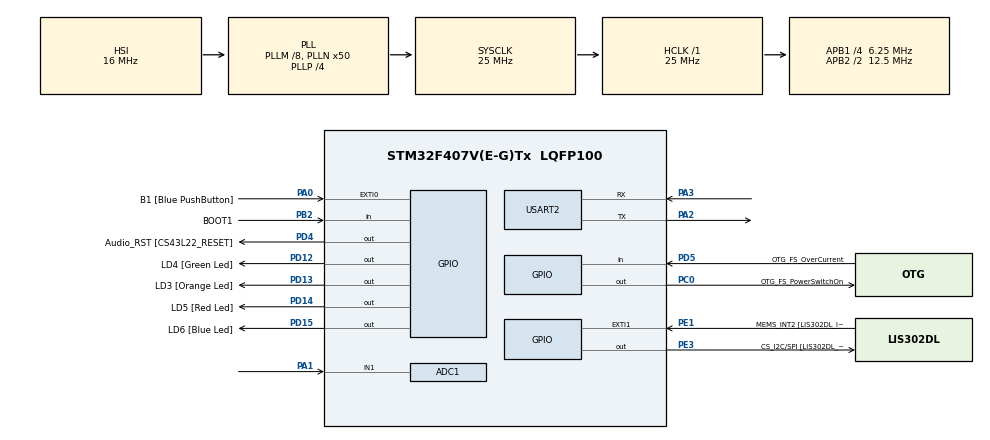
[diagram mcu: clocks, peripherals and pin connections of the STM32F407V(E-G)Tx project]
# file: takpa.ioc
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ADC1.Channel-0\#ChannelRegularConversion=ADC_CHANNEL_1
ADC1.Channel-1\#ChannelRegularConversion=ADC_CHANNEL_TEMPSENSOR
ADC1.ClockPrescaler=ADC_CLOCK_SYNC_PCLK_DIV2
ADC1.ContinuousConvMode=ENABLE
ADC1.DMAContinuousRequests=ENABLE
ADC1.DataAlign=ADC_DATAALIGN_RIGHT
ADC1.DiscontinuousConvMode=DISABLE
ADC1.EOCSelection=ADC_EOC_SINGLE_CONV
ADC1.EnableAnalogWatchDog=false
ADC1.ExternalTrigConv=ADC_SOFTWARE_START
ADC1.ExternalTrigConvEdge=ADC_EXTERNALTRIGCONVEDGE_NONE
ADC1.InjNumberOfConversion=0
ADC1.NbrOfConversion=2
ADC1.NbrOfConversionFlag=1
ADC1.Rank-0\#ChannelRegularConversion=1
ADC1.Rank-1\#ChannelRegularConversion=2
ADC1.Resolution=ADC_RESOLUTION_12B
ADC1.SamplingTime-0\#ChannelRegularConversion=ADC_SAMPLETIME_480CYCLES
ADC1.SamplingTime-1\#ChannelRegularConversion=ADC_SAMPLETIME_480CYCLES
ADC1.ScanConvMode=ENABLE
ADC1.master=1
Dma.ADC1.0.Direction=DMA_PERIPH_TO_MEMORY
Dma.ADC1.0.FIFOMode=DMA_FIFOMODE_DISABLE
Dma.ADC1.0.Instance=DMA2_Stream0
Dma.ADC1.0.MemDataAlignment=DMA_MDATAALIGN_WORD
Dma.ADC1.0.MemInc=DMA_MINC_ENABLE
Dma.ADC1.0.Mode=DMA_CIRCULAR
Dma.ADC1.0.PeriphDataAlignment=DMA_PDATAALIGN_WORD
Dma.ADC1.0.PeriphInc=DMA_PINC_DISABLE
Dma.ADC1.0.Priority=DMA_PRIORITY_LOW
Dma.Request0=ADC1
Mcu.Family=STM32F4
Mcu.Name=STM32F407V(E-G)Tx
Mcu.Package=LQFP100
NVIC.DMA2_Stream0_IRQn=true\:0\:0\:false\:false\:true\:false
NVIC.PriorityGroup=NVIC_PRIORITYGROUP_0
NVIC.TIM1_TRG_COM_TIM11_IRQn=true\:0\:0\:false\:false\:true\:true
NVIC.TIM1_UP_TIM10_IRQn=true\:0\:0\:true\:false\:true\:true
NVIC.USART2_IRQn=true\:0\:0\:false\:false\:true\:true
PA0-WKUP.GPIO_Label=B1 [Blue PushButton]
PA0-WKUP.Signal=GPXTI0
PA1.Signal=ADCx_IN1
PA10.GPIO_Label=OTG_FS_ID
PA10.GPIO_Mode=GPIO_MODE_AF_PP
PA10.GPIO_PuPd=GPIO_NOPULL
PA10.GPIO_Speed=GPIO_SPEED_FREQ_LOW
PA10.Signal=USB_OTG_FS_ID
PA11.GPIO_Label=OTG_FS_DM
PA11.GPIO_Mode=GPIO_MODE_AF_PP
PA11.GPIO_PuPd=GPIO_NOPULL
PA11.GPIO_Speed=GPIO_SPEED_FREQ_LOW
PA11.Signal=USB_OTG_FS_DM
PA12.GPIO_Label=OTG_FS_DP
PA12.GPIO_Mode=GPIO_MODE_AF_PP
PA12.GPIO_PuPd=GPIO_NOPULL
PA12.GPIO_Speed=GPIO_SPEED_FREQ_LOW
PA12.Signal=USB_OTG_FS_DP
PA13.GPIO_Label=SWDIO
PA13.Signal=SYS_JTMS-SWDIO
PA14.GPIO_Label=SWCLK
PA14.Signal=SYS_JTCK-SWCLK
PA2.Mode=Asynchronous
PA2.Signal=USART2_TX
PA3.Mode=Asynchronous
PA3.Signal=USART2_RX
PA4.GPIO_Label=I2S3_WS [CS43L22_LRCK]
PA4.GPIO_Mode=GPIO_MODE_AF_PP
PA4.GPIO_PuPd=GPIO_NOPULL
PA4.GPIO_Speed=GPIO_SPEED_FREQ_LOW
PA4.Signal=I2S3_WS
PA5.GPIO_Label=SPI1_SCK [LIS302DL_SCL/SPC]
PA5.GPIO_Mode=GPIO_MODE_AF_PP
PA5.GPIO_PuPd=GPIO_NOPULL
PA5.GPIO_Speed=GPIO_SPEED_FREQ_LOW
PA5.Signal=SPI1_SCK
PA6.GPIO_Label=SPI1_MISO [LIS302DL_SDO]
PA6.GPIO_Mode=GPIO_MODE_AF_PP
PA6.GPIO_PuPd=GPIO_NOPULL
PA6.GPIO_Speed=GPIO_SPEED_FREQ_LOW
PA6.Signal=SPI1_MISO
PA7.GPIO_Label=SPI1_MOSI [LIS302DL_SDA/SDI/SDO]
PA7.GPIO_Mode=GPIO_MODE_AF_PP
PA7.GPIO_PuPd=GPIO_NOPULL
PA7.GPIO_Speed=GPIO_SPEED_FREQ_LOW
PA7.Signal=SPI1_MOSI
PA9.GPIO_Label=VBUS_FS
PA9.GPIO_Mode=GPIO_MODE_INPUT
PA9.GPIO_PuPd=GPIO_NOPULL
PA9.Signal=USB_OTG_FS_VBUS
PB10.GPIO_Label=CLK_IN [MP45DT02_CLK]
PB10.GPIO_Mode=GPIO_MODE_AF_PP
PB10.GPIO_PuPd=GPIO_NOPULL
PB10.GPIO_Speed=GPIO_SPEED_FREQ_LOW
PB10.Signal=I2S2_CK
PB2.GPIO_Label=BOOT1
PB2.GPIO_Mode=GPIO_MODE_INPUT
PB2.GPIO_PuPd=GPIO_NOPULL
PB2.Signal=GPIO_Input
PB3.GPIO_Label=SWO
PB3.Signal=SYS_JTDO-SWO
PB6.GPIO_Label=Audio_SCL [CS43L22_SCL]
PB6.GPIO_Mode=GPIO_MODE_AF_OD
PB6.GPIO_PuPd=GPIO_NOPULL
PB6.GPIO_Speed=GPIO_SPEED_FREQ_LOW
PB6.Signal=I2C1_SCL
PB9.GPIO_Label=Audio_SDA [CS43L22_SDA]
PB9.GPIO_Mode=GPIO_MODE_AF_OD
PB9.GPIO_PuPd=GPIO_NOPULL
PB9.GPIO_Speed=GPIO_SPEED_FREQ_LOW
PB9.Signal=I2C1_SDA
PC0.GPIO_Label=OTG_FS_PowerSwitchOn
PC0.GPIO_PuPd=GPIO_NOPULL
PC0.GPIO_Speed=GPIO_SPEED_FREQ_LOW
PC0.PinState=GPIO_PIN_SET
PC0.Signal=GPIO_Output
PC10.GPIO_Label=I2S3_SCK [CS43L22_SCLK]
PC10.GPIO_Mode=GPIO_MODE_AF_PP
PC10.GPIO_PuPd=GPIO_NOPULL
PC10.GPIO_Speed=GPIO_SPEED_FREQ_LOW
PC10.Signal=I2S3_CK
PC12.GPIO_Label=I2S3_SD [CS43L22_SDIN]
PC12.GPIO_Mode=GPIO_MODE_AF_PP
PC12.GPIO_PuPd=GPIO_NOPULL
PC12.GPIO_Speed=GPIO_SPEED_FREQ_LOW
PC12.Signal=I2S3_SD
PC14-OSC32_IN.GPIO_Label=PC14-OSC32_IN
PC14-OSC32_IN.Signal=RCC_OSC32_IN
PC15-OSC32_OUT.GPIO_Label=PC15-OSC32_OUT
PC15-OSC32_OUT.Signal=RCC_OSC32_OUT
PC3.GPIO_Label=PDM_OUT [MP45DT02_DOUT]
PC3.GPIO_Mode=GPIO_MODE_AF_PP
PC3.GPIO_PuPd=GPIO_NOPULL
PC3.GPIO_Speed=GPIO_SPEED_FREQ_LOW
PC3.Signal=I2S2_SD
PC7.GPIO_Label=I2S3_MCK [CS43L22_MCLK]
PC7.GPIO_Mode=GPIO_MODE_AF_PP
PC7.GPIO_PuPd=GPIO_NOPULL
PC7.GPIO_Speed=GPIO_SPEED_FREQ_LOW
PC7.Signal=I2S3_MCK
PD12.GPIO_Label=LD4 [Green Led]
PD12.GPIO_PuPd=GPIO_NOPULL
PD12.GPIO_Speed=GPIO_SPEED_FREQ_LOW
PD12.Signal=GPIO_Output
PD13.GPIO_Label=LD3 [Orange Led]
PD13.GPIO_PuPd=GPIO_NOPULL
PD13.GPIO_Speed=GPIO_SPEED_FREQ_LOW
PD13.Signal=GPIO_Output
PD14.GPIO_Label=LD5 [Red Led]
PD14.GPIO_PuPd=GPIO_NOPULL
PD14.GPIO_Speed=GPIO_SPEED_FREQ_LOW
PD14.Signal=GPIO_Output
PD15.GPIO_Label=LD6 [Blue Led]
PD15.GPIO_PuPd=GPIO_NOPULL
PD15.GPIO_Speed=GPIO_SPEED_FREQ_LOW
PD15.Signal=GPIO_Output
PD4.GPIO_Label=Audio_RST [CS43L22_RESET]
PD4.GPIO_PuPd=GPIO_NOPULL
PD4.GPIO_Speed=GPIO_SPEED_FREQ_LOW
PD4.Signal=GPIO_Output
PD5.GPIO_Label=OTG_FS_OverCurrent
PD5.GPIO_Mode=GPIO_MODE_INPUT
PD5.GPIO_PuPd=GPIO_NOPULL
PD5.Signal=GPIO_Input
PE1.GPIO_Label=MEMS_INT2 [LIS302DL_INT2]
PE1.GPIO_ModeDefaultEXTI=GPIO_MODE_EVT_RISING
PE1.GPIO_PuPd=GPIO_NOPULL
PE1.Signal=GPXTI1
PE3.GPIO_Label=CS_I2C/SPI [LIS302DL_CS_I2C/SPI]
PE3.GPIO_PuPd=GPIO_NOPULL
PE3.GPIO_Speed=GPIO_SPEED_FREQ_LOW
PE3.Signal=GPIO_Output
PH0-OSC_IN.GPIO_Label=PH0-OSC_IN
PH0-OSC_IN.Signal=RCC_OSC_IN
PH1-OSC_OUT.GPIO_Label=PH1-OSC_OUT
PH1-OSC_OUT.Signal=RCC_OSC_OUT
ProjectManager.HeapSize=0x200
ProjectManager.StackSize=0x400
ProjectManager.TargetToolchain=SW4STM32
RCC.48MHZClocksFreq_Value=14285714.285714285
RCC.AHBFreq_Value=25000000
RCC.APB1CLKDivider=RCC_HCLK_DIV4
RCC.APB1Freq_Value=6250000
RCC.APB1TimFreq_Value=12500000
RCC.APB2CLKDivider=RCC_HCLK_DIV2
RCC.APB2Freq_Value=12500000
RCC.APB2TimFreq_Value=25000000
RCC.CortexFreq_Value=25000000
RCC.HCLKFreq_Value=25000000
RCC.HSE_VALUE=8000000
RCC.HSI_VALUE=16000000
RCC.LSE_VALUE=32768
RCC.PLLM=8
RCC.PLLN=50
RCC.PLLP=RCC_PLLP_DIV4
RCC.PLLQ=7
RCC.SYSCLKFreq_VALUE=25000000
RCC.SYSCLKSource=RCC_SYSCLKSOURCE_PLLCLK
RCC.VCOOutputFreq_Value=100000000
SH.ADCx_IN1.0=ADC1_IN1,IN1
TIM10.Period=999
TIM10.Prescaler=24
TIM11.Period=4999
TIM11.Prescaler=4999
USART2.VirtualMode=VM_ASYNC
VP_ADC1_TempSens_Input.Mode=IN-TempSens
VP_TIM10_VS_ClockSourceINT.Mode=Enable_Timer
VP_TIM11_VS_ClockSourceINT.Mode=Enable_Timer
board=STM32F4DISCOVERY

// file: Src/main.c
/**
  ******************************************************************************
  * File Name          : main.c
  * Description        : Main program body
  ******************************************************************************
  ** This notice applies to any and all portions of this file
  * that are not between comment pairs USER CODE BEGIN and
  * USER CODE END. Other portions of this file, whether
  * inserted by the user or by software development tools
  * are owned by their respective copyright owners.
  *
  * COPYRIGHT(c) 2560 STMicroelectronics
  *
  * Redistribution and use in source and binary forms, with or without modification,
  * are permitted provided that the following conditions are met:
  *   1. Redistributions of source code must retain the above copyright notice,
  *      this list of conditions and the following disclaimer.
  *   2. Redistributions in binary form must reproduce the above copyright notice,
  *      this list of conditions and the following disclaimer in the documentation
  *      and/or other materials provided with the distribution.
  *   3. Neither the name of STMicroelectronics nor the names of its contributors
  *      may be used to endorse or promote products derived from this software
  *      without specific prior written permission.
  *
  * THIS SOFTWARE IS PROVIDED BY THE COPYRIGHT HOLDERS AND CONTRIBUTORS "AS IS"
  * AND ANY EXPRESS OR IMPLIED WARRANTIES, INCLUDING, BUT NOT LIMITED TO, THE
  * IMPLIED WARRANTIES OF MERCHANTABILITY AND FITNESS FOR A PARTICULAR PURPOSE ARE
  * DISCLAIMED. IN NO EVENT SHALL THE COPYRIGHT HOLDER OR CONTRIBUTORS BE LIABLE
  * FOR ANY DIRECT, INDIRECT, INCIDENTAL, SPECIAL, EXEMPLARY, OR CONSEQUENTIAL
  * DAMAGES (INCLUDING, BUT NOT LIMITED TO, PROCUREMENT OF SUBSTITUTE GOODS OR
  * SERVICES; LOSS OF USE, DATA, OR PROFITS; OR BUSINESS INTERRUPTION) HOWEVER
  * CAUSED AND ON ANY THEORY OF LIABILITY, WHETHER IN CONTRACT, STRICT LIABILITY,
  * OR TORT (INCLUDING NEGLIGENCE OR OTHERWISE) ARISING IN ANY WAY OUT OF THE USE
  * OF THIS SOFTWARE, EVEN IF ADVISED OF THE POSSIBILITY OF SUCH DAMAGE.
  *
  ******************************************************************************
  */

#include "main.h"
#include "stm32f4xx_hal.h"

ADC_HandleTypeDef hadc1;
DMA_HandleTypeDef hdma_adc1;

TIM_HandleTypeDef htim10;
TIM_HandleTypeDef htim11;

UART_HandleTypeDef huart2;

/* USER CODE BEGIN PV */
/* Private variables ---------------------------------------------------------*/

/* USER CODE END PV */

void SystemClock_Config(void);
static void MX_GPIO_Init(void);
static void MX_DMA_Init(void);
static void MX_USART2_UART_Init(void);
static void MX_TIM10_Init(void);
static void MX_TIM11_Init(void);
static void MX_ADC1_Init(void);

/* USER CODE BEGIN PFP */
/* Private function prototypes -----------------------------------------------*/

/* USER CODE END PFP */

/* USER CODE BEGIN 0 */
int8_t motorState = 0;
int8_t modeAuto = 0;

#define TIMEDELAY 2000
int timer = 0;

int bufferADC[2],dataADC[2];
void HAL_ADC_ConvCpltCallback(ADC_HandleTypeDef* hadc){
	dataADC[0] = bufferADC[0];
	dataADC[1] = bufferADC[1];
}

#define SIZEBUFFIN 128
#define SIZEBUFFOUT 128
int8_t dataReady = 0;
char strin[SIZEBUFFIN];
int index_strin = 0;
char buffer[1];
void HAL_UART_RxCpltCallback(UART_HandleTypeDef *huart){
	if(huart->Instance == USART2){
		if(!dataReady){
			if(buffer[0] != '\r'){
				strin[index_strin++] = buffer[0];
			}
			else{
				index_strin = 0;
				dataReady = 1;
			}
		}
		HAL_UART_Receive_IT(&huart2,buffer,1);
	}
}

void get_strin(char* data, int len){
	int i;
	for(i=0;i<SIZEBUFFIN && i<len;i++){
		data[i] = strin[i];
	}
	memset(strin,0,128);
}

int cal_temp(int value){
	float temp = value;
	temp = temp*3000/4095;
	temp = (temp - 760) / 2.5;
	temp = temp + 25;
	return temp;
}

/* USER CODE END 0 */

int main(void)
{

  /* MCU Configuration----------------------------------------------------------*/

  /* Reset of all peripherals, Initializes the Flash interface and the Systick. */
  HAL_Init();

  /* Configure the system clock */
  SystemClock_Config();

  /* Initialize all configured peripherals */
  MX_GPIO_Init();
  MX_DMA_Init();
  MX_USART2_UART_Init();
  MX_TIM10_Init();
  MX_TIM11_Init();
  MX_ADC1_Init();

  /* USER CODE BEGIN 2 */
  HAL_TIM_Base_Start_IT(&htim10);
  HAL_TIM_Base_Start_IT(&htim11);

  HAL_UART_Receive_IT(&huart2,buffer,1);

  HAL_ADC_Start_DMA(&hadc1,bufferADC,2);
  /* USER CODE END 2 */

  /* Infinite loop */
  while (1)
  {

  /* USER CODE BEGIN 3 */

	  if(HAL_GPIO_ReadPin(GPIOA,GPIO_PIN_0)){
		  HAL_Delay(30);
		  if(HAL_GPIO_ReadPin(GPIOA,GPIO_PIN_0)){
			  motorState = !motorState;
		  }
	  }

	  if(modeAuto){
		  if(motorState && dataADC[0] < 200){
			  motorState = 0;
		  }
	  }

	  char data[SIZEBUFFIN];
	  if(dataReady){
		get_strin(data,SIZEBUFFIN);
	  	if(strcmp(data,"on")==0){
	  		motorState = 1;
	  	}
	  	else if(strcmp(data,"off")==0){
	  		motorState = 0;
	  	}else if(strcmp(data,"auto")==0){
	  		modeAuto = 1;
	  	}else if(strcmp(data,"manual")==0){
	  		modeAuto = 0;
	  	}
	  	//debug
	  	/*
	  	strcat(data,"\n");
	  	HAL_UART_Transmit(&huart2,data,strlen(data),100);
	  	*///
	  	dataReady = 0;
	  }
	  if(timer == TIMEDELAY){
		  timer = 0;
		  char strout[SIZEBUFFOUT];
		  memset(strout,0,SIZEBUFFOUT);
		  snprintf(strout,SIZEBUFFOUT,"\"light\": %d, \"temp\":%d\r",dataADC[0],cal_temp(dataADC[1]));
		  HAL_UART_Transmit(&huart2,strout,strlen(strout),100);
	  }
	  else{
		  timer++;

	  }
	  HAL_Delay(1);
  }
  /* USER CODE END 3 */

}

/** System Clock Configuration
*/
void SystemClock_Config(void)
{

  RCC_OscInitTypeDef RCC_OscInitStruct;
  RCC_ClkInitTypeDef RCC_ClkInitStruct;

    /**Configure the main internal regulator output voltage
    */
  __HAL_RCC_PWR_CLK_ENABLE();

  __HAL_PWR_VOLTAGESCALING_CONFIG(PWR_REGULATOR_VOLTAGE_SCALE1);

    /**Initializes the CPU, AHB and APB busses clocks
    */
  RCC_OscInitStruct.OscillatorType = RCC_OSCILLATORTYPE_HSI;
  RCC_OscInitStruct.HSIState = RCC_HSI_ON;
  RCC_OscInitStruct.HSICalibrationValue = 16;
  RCC_OscInitStruct.PLL.PLLState = RCC_PLL_ON;
  RCC_OscInitStruct.PLL.PLLSource = RCC_PLLSOURCE_HSI;
  RCC_OscInitStruct.PLL.PLLM = 8;
  RCC_OscInitStruct.PLL.PLLN = 50;
  RCC_OscInitStruct.PLL.PLLP = RCC_PLLP_DIV4;
  RCC_OscInitStruct.PLL.PLLQ = 7;
  if (HAL_RCC_OscConfig(&RCC_OscInitStruct) != HAL_OK)
  {
    _Error_Handler(__FILE__, __LINE__);
  }

    /**Initializes the CPU, AHB and APB busses clocks
    */
  RCC_ClkInitStruct.ClockType = RCC_CLOCKTYPE_HCLK|RCC_CLOCKTYPE_SYSCLK
                              |RCC_CLOCKTYPE_PCLK1|RCC_CLOCKTYPE_PCLK2;
  RCC_ClkInitStruct.SYSCLKSource = RCC_SYSCLKSOURCE_PLLCLK;
  RCC_ClkInitStruct.AHBCLKDivider = RCC_SYSCLK_DIV1;
  RCC_ClkInitStruct.APB1CLKDivider = RCC_HCLK_DIV4;
  RCC_ClkInitStruct.APB2CLKDivider = RCC_HCLK_DIV2;

  if (HAL_RCC_ClockConfig(&RCC_ClkInitStruct, FLASH_LATENCY_0) != HAL_OK)
  {
    _Error_Handler(__FILE__, __LINE__);
  }

    /**Configure the Systick interrupt time
    */
  HAL_SYSTICK_Config(HAL_RCC_GetHCLKFreq()/1000);

    /**Configure the Systick
    */
  HAL_SYSTICK_CLKSourceConfig(SYSTICK_CLKSOURCE_HCLK);

  /* SysTick_IRQn interrupt configuration */
  HAL_NVIC_SetPriority(SysTick_IRQn, 0, 0);
}

/* ADC1 init function */
static void MX_ADC1_Init(void)
{

  ADC_ChannelConfTypeDef sConfig;

    /**Configure the global features of the ADC (Clock, Resolution, Data Alignment and number of conversion)
    */
  hadc1.Instance = ADC1;
  hadc1.Init.ClockPrescaler = ADC_CLOCK_SYNC_PCLK_DIV2;
  hadc1.Init.Resolution = ADC_RESOLUTION_12B;
  hadc1.Init.ScanConvMode = ENABLE;
  hadc1.Init.ContinuousConvMode = ENABLE;
  hadc1.Init.DiscontinuousConvMode = DISABLE;
  hadc1.Init.ExternalTrigConvEdge = ADC_EXTERNALTRIGCONVEDGE_NONE;
  hadc1.Init.ExternalTrigConv = ADC_SOFTWARE_START;
  hadc1.Init.DataAlign = ADC_DATAALIGN_RIGHT;
  hadc1.Init.NbrOfConversion = 2;
  hadc1.Init.DMAContinuousRequests = ENABLE;
  hadc1.Init.EOCSelection = ADC_EOC_SINGLE_CONV;
  if (HAL_ADC_Init(&hadc1) != HAL_OK)
  {
    _Error_Handler(__FILE__, __LINE__);
  }

    /**Configure for the selected ADC regular channel its corresponding rank in the sequencer and its sample time.
    */
  sConfig.Channel = ADC_CHANNEL_1;
  sConfig.Rank = 1;
  sConfig.SamplingTime = ADC_SAMPLETIME_480CYCLES;
  if (HAL_ADC_ConfigChannel(&hadc1, &sConfig) != HAL_OK)
  {
    _Error_Handler(__FILE__, __LINE__);
  }

    /**Configure for the selected ADC regular channel its corresponding rank in the sequencer and its sample time.
    */
  sConfig.Channel = ADC_CHANNEL_TEMPSENSOR;
  sConfig.Rank = 2;
  if (HAL_ADC_ConfigChannel(&hadc1, &sConfig) != HAL_OK)
  {
    _Error_Handler(__FILE__, __LINE__);
  }

}

/* TIM10 init function */
static void MX_TIM10_Init(void)
{

  htim10.Instance = TIM10;
  htim10.Init.Prescaler = 24;
  htim10.Init.CounterMode = TIM_COUNTERMODE_UP;
  htim10.Init.Period = 999;
  htim10.Init.ClockDivision = TIM_CLOCKDIVISION_DIV1;
  if (HAL_TIM_Base_Init(&htim10) != HAL_OK)
  {
    _Error_Handler(__FILE__, __LINE__);
  }

}

/* TIM11 init function */
static void MX_TIM11_Init(void)
{

  htim11.Instance = TIM11;
  htim11.Init.Prescaler = 4999;
  htim11.Init.CounterMode = TIM_COUNTERMODE_UP;
  htim11.Init.Period = 4999;
  htim11.Init.ClockDivision = TIM_CLOCKDIVISION_DIV1;
  if (HAL_TIM_Base_Init(&htim11) != HAL_OK)
  {
    _Error_Handler(__FILE__, __LINE__);
  }

}

/* USART2 init function */
static void MX_USART2_UART_Init(void)
{

  huart2.Instance = USART2;
  huart2.Init.BaudRate = 115200;
  huart2.Init.WordLength = UART_WORDLENGTH_8B;
  huart2.Init.StopBits = UART_STOPBITS_1;
  huart2.Init.Parity = UART_PARITY_NONE;
  huart2.Init.Mode = UART_MODE_TX_RX;
  huart2.Init.HwFlowCtl = UART_HWCONTROL_NONE;
  huart2.Init.OverSampling = UART_OVERSAMPLING_16;
  if (HAL_UART_Init(&huart2) != HAL_OK)
  {
    _Error_Handler(__FILE__, __LINE__);
  }

}

static void MX_DMA_Init(void)
{
  /* DMA controller clock enable */
  __HAL_RCC_DMA2_CLK_ENABLE();

  /* DMA interrupt init */
  /* DMA2_Stream0_IRQn interrupt configuration */
  HAL_NVIC_SetPriority(DMA2_Stream0_IRQn, 0, 0);
  HAL_NVIC_EnableIRQ(DMA2_Stream0_IRQn);

}

/** Configure pins as
        * Analog
        * Input
        * Output
        * EVENT_OUT
        * EXTI
     PC3   ------> I2S2_SD
     PA4   ------> I2S3_WS
     PA5   ------> SPI1_SCK
     PA6   ------> SPI1_MISO
     PA7   ------> SPI1_MOSI
     PB10   ------> I2S2_CK
     PC7   ------> I2S3_MCK
     PA9   ------> USB_OTG_FS_VBUS
     PA10   ------> USB_OTG_FS_ID
     PA11   ------> USB_OTG_FS_DM
     PA12   ------> USB_OTG_FS_DP
     PC10   ------> I2S3_CK
     PC12   ------> I2S3_SD
     PB6   ------> I2C1_SCL
     PB9   ------> I2C1_SDA
*/
static void MX_GPIO_Init(void)
{

  GPIO_InitTypeDef GPIO_InitStruct;

  /* GPIO Ports Clock Enable */
  __HAL_RCC_GPIOE_CLK_ENABLE();
  __HAL_RCC_GPIOC_CLK_ENABLE();
  __HAL_RCC_GPIOH_CLK_ENABLE();
  __HAL_RCC_GPIOA_CLK_ENABLE();
  __HAL_RCC_GPIOB_CLK_ENABLE();
  __HAL_RCC_GPIOD_CLK_ENABLE();

  /*Configure GPIO pin Output Level */
  HAL_GPIO_WritePin(CS_I2C_SPI_GPIO_Port, CS_I2C_SPI_Pin, GPIO_PIN_RESET);

  /*Configure GPIO pin Output Level */
  HAL_GPIO_WritePin(OTG_FS_PowerSwitchOn_GPIO_Port, OTG_FS_PowerSwitchOn_Pin, GPIO_PIN_SET);

  /*Configure GPIO pin Output Level */
  HAL_GPIO_WritePin(GPIOD, LD4_Pin|LD3_Pin|LD5_Pin|LD6_Pin
                          |Audio_RST_Pin, GPIO_PIN_RESET);

  /*Configure GPIO pin : CS_I2C_SPI_Pin */
  GPIO_InitStruct.Pin = CS_I2C_SPI_Pin;
  GPIO_InitStruct.Mode = GPIO_MODE_OUTPUT_PP;
  GPIO_InitStruct.Pull = GPIO_NOPULL;
  GPIO_InitStruct.Speed = GPIO_SPEED_FREQ_LOW;
  HAL_GPIO_Init(CS_I2C_SPI_GPIO_Port, &GPIO_InitStruct);

  /*Configure GPIO pin : OTG_FS_PowerSwitchOn_Pin */
  GPIO_InitStruct.Pin = OTG_FS_PowerSwitchOn_Pin;
  GPIO_InitStruct.Mode = GPIO_MODE_OUTPUT_PP;
  GPIO_InitStruct.Pull = GPIO_NOPULL;
  GPIO_InitStruct.Speed = GPIO_SPEED_FREQ_LOW;
  HAL_GPIO_Init(OTG_FS_PowerSwitchOn_GPIO_Port, &GPIO_InitStruct);

  /*Configure GPIO pin : PDM_OUT_Pin */
  GPIO_InitStruct.Pin = PDM_OUT_Pin;
  GPIO_InitStruct.Mode = GPIO_MODE_AF_PP;
  GPIO_InitStruct.Pull = GPIO_NOPULL;
  GPIO_InitStruct.Speed = GPIO_SPEED_FREQ_LOW;
  GPIO_InitStruct.Alternate = GPIO_AF5_SPI2;
  HAL_GPIO_Init(PDM_OUT_GPIO_Port, &GPIO_InitStruct);

  /*Configure GPIO pin : B1_Pin */
  GPIO_InitStruct.Pin = B1_Pin;
  GPIO_InitStruct.Mode = GPIO_MODE_IT_RISING;
  GPIO_InitStruct.Pull = GPIO_NOPULL;
  HAL_GPIO_Init(B1_GPIO_Port, &GPIO_InitStruct);

  /*Configure GPIO pin : I2S3_WS_Pin */
  GPIO_InitStruct.Pin = I2S3_WS_Pin;
  GPIO_InitStruct.Mode = GPIO_MODE_AF_PP;
  GPIO_InitStruct.Pull = GPIO_NOPULL;
  GPIO_InitStruct.Speed = GPIO_SPEED_FREQ_LOW;
  GPIO_InitStruct.Alternate = GPIO_AF6_SPI3;
  HAL_GPIO_Init(I2S3_WS_GPIO_Port, &GPIO_InitStruct);

  /*Configure GPIO pins : SPI1_SCK_Pin SPI1_MISO_Pin SPI1_MOSI_Pin */
  GPIO_InitStruct.Pin = SPI1_SCK_Pin|SPI1_MISO_Pin|SPI1_MOSI_Pin;
  GPIO_InitStruct.Mode = GPIO_MODE_AF_PP;
  GPIO_InitStruct.Pull = GPIO_NOPULL;
  GPIO_InitStruct.Speed = GPIO_SPEED_FREQ_LOW;
  GPIO_InitStruct.Alternate = GPIO_AF5_SPI1;
  HAL_GPIO_Init(GPIOA, &GPIO_InitStruct);

  /*Configure GPIO pin : BOOT1_Pin */
  GPIO_InitStruct.Pin = BOOT1_Pin;
  GPIO_InitStruct.Mode = GPIO_MODE_INPUT;
  GPIO_InitStruct.Pull = GPIO_NOPULL;
  HAL_GPIO_Init(BOOT1_GPIO_Port, &GPIO_InitStruct);

  /*Configure GPIO pin : CLK_IN_Pin */
  GPIO_InitStruct.Pin = CLK_IN_Pin;
  GPIO_InitStruct.Mode = GPIO_MODE_AF_PP;
  GPIO_InitStruct.Pull = GPIO_NOPULL;
  GPIO_InitStruct.Speed = GPIO_SPEED_FREQ_LOW;
  GPIO_InitStruct.Alternate = GPIO_AF5_SPI2;
  HAL_GPIO_Init(CLK_IN_GPIO_Port, &GPIO_InitStruct);

  /*Configure GPIO pins : LD4_Pin LD3_Pin LD5_Pin LD6_Pin
                           Audio_RST_Pin */
  GPIO_InitStruct.Pin = LD4_Pin|LD3_Pin|LD5_Pin|LD6_Pin
                          |Audio_RST_Pin;
  GPIO_InitStruct.Mode = GPIO_MODE_OUTPUT_PP;
  GPIO_InitStruct.Pull = GPIO_NOPULL;
  GPIO_InitStruct.Speed = GPIO_SPEED_FREQ_LOW;
  HAL_GPIO_Init(GPIOD, &GPIO_InitStruct);

  /*Configure GPIO pins : I2S3_MCK_Pin I2S3_SCK_Pin I2S3_SD_Pin */
  GPIO_InitStruct.Pin = I2S3_MCK_Pin|I2S3_SCK_Pin|I2S3_SD_Pin;
  GPIO_InitStruct.Mode = GPIO_MODE_AF_PP;
  GPIO_InitStruct.Pull = GPIO_NOPULL;
  GPIO_InitStruct.Speed = GPIO_SPEED_FREQ_LOW;
  GPIO_InitStruct.Alternate = GPIO_AF6_SPI3;
  HAL_GPIO_Init(GPIOC, &GPIO_InitStruct);

  /*Configure GPIO pin : VBUS_FS_Pin */
  GPIO_InitStruct.Pin = VBUS_FS_Pin;
  GPIO_InitStruct.Mode = GPIO_MODE_INPUT;
  GPIO_InitStruct.Pull = GPIO_NOPULL;
  HAL_GPIO_Init(VBUS_FS_GPIO_Port, &GPIO_InitStruct);

  /*Configure GPIO pins : OTG_FS_ID_Pin OTG_FS_DM_Pin OTG_FS_DP_Pin */
  GPIO_InitStruct.Pin = OTG_FS_ID_Pin|OTG_FS_DM_Pin|OTG_FS_DP_Pin;
  GPIO_InitStruct.Mode = GPIO_MODE_AF_PP;
  GPIO_InitStruct.Pull = GPIO_NOPULL;
  GPIO_InitStruct.Speed = GPIO_SPEED_FREQ_LOW;
  GPIO_InitStruct.Alternate = GPIO_AF10_OTG_FS;
  HAL_GPIO_Init(GPIOA, &GPIO_InitStruct);

  /*Configure GPIO pin : OTG_FS_OverCurrent_Pin */
  GPIO_InitStruct.Pin = OTG_FS_OverCurrent_Pin;
  GPIO_InitStruct.Mode = GPIO_MODE_INPUT;
  GPIO_InitStruct.Pull = GPIO_NOPULL;
  HAL_GPIO_Init(OTG_FS_OverCurrent_GPIO_Port, &GPIO_InitStruct);

  /*Configure GPIO pins : Audio_SCL_Pin Audio_SDA_Pin */
  GPIO_InitStruct.Pin = Audio_SCL_Pin|Audio_SDA_Pin;
  GPIO_InitStruct.Mode = GPIO_MODE_AF_OD;
  GPIO_InitStruct.Pull = GPIO_PULLUP;
  GPIO_InitStruct.Speed = GPIO_SPEED_FREQ_LOW;
  GPIO_InitStruct.Alternate = GPIO_AF4_I2C1;
  HAL_GPIO_Init(GPIOB, &GPIO_InitStruct);

  /*Configure GPIO pin : MEMS_INT2_Pin */
  GPIO_InitStruct.Pin = MEMS_INT2_Pin;
  GPIO_InitStruct.Mode = GPIO_MODE_EVT_RISING;
  GPIO_InitStruct.Pull = GPIO_NOPULL;
  HAL_GPIO_Init(MEMS_INT2_GPIO_Port, &GPIO_InitStruct);

}

void _Error_Handler(char * file, int line)
{
  while(1)
  {
  }
}

/************************ (C) COPYRIGHT STMicroelectronics *****END OF FILE****/
